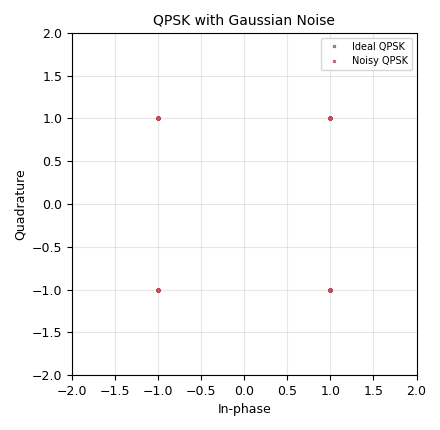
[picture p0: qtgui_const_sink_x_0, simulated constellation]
options:
  parameters:
    author: Dhrubjun
    generate_options: qt_gui
    id: exp5
    output_language: python
    title: QPSK Decision Regions and Noise
  states: {}

blocks:
- name: noise_amp
  id: variable_qtgui_range
  parameters:
    label: Noise Amplitude
    start: '0'
    step: '0.05'
    stop: '2'
    value: '0'
  states: {}
- name: samp_rate
  id: variable
  parameters:
    value: '32000'
  states: {}
- name: samples_per_symbol
  id: variable
  parameters:
    value: int(samp_rate/symbol_rate)
  states: {}
- name: symbol_rate
  id: variable
  parameters:
    value: '1000'
  states: {}
- name: analog_noise_source_x_0
  id: analog_noise_source_x
  parameters:
    amp: noise_amp
    noise_type: analog.GR_GAUSSIAN
    seed: '0'
    type: complex
  states: {}
- name: blocks_add_xx_0
  id: blocks_add_xx
  parameters:
    type: complex
  states: {}
- name: blocks_float_to_complex_0
  id: blocks_float_to_complex
  parameters: {}
  states: {}
- name: blocks_repeat_0_0
  id: blocks_repeat
  parameters:
    interp: samples_per_symbol
    type: float
  states: {}
- name: blocks_repeat_0_0_0
  id: blocks_repeat
  parameters:
    interp: samples_per_symbol
    type: float
  states: {}
- name: blocks_throttle2_0
  id: blocks_throttle2
  parameters:
    samples_per_second: samp_rate
    type: byte
  states: {}
- name: blocks_throttle2_0_0
  id: blocks_throttle2
  parameters:
    samples_per_second: samp_rate
    type: byte
  states: {}
- name: blocks_vector_source_x_0
  id: blocks_vector_source_x
  parameters:
    alias: I Bit Source
    repeat: 'True'
    type: byte
    vector: (0, 0, 1, 1)
  states: {}
- name: blocks_vector_source_x_0_0
  id: blocks_vector_source_x
  parameters:
    alias: Q Bit Source
    repeat: 'True'
    type: byte
    vector: (0, 1, 0, 1)
  states: {}
- name: digital_chunks_to_symbols_xx_0
  id: digital_chunks_to_symbols_xx
  parameters:
    dimension: '1'
    in_type: byte
    out_type: float
    symbol_table: '[-1, 1]'
  states: {}
- name: digital_chunks_to_symbols_xx_0_0
  id: digital_chunks_to_symbols_xx
  parameters:
    dimension: '1'
    in_type: byte
    out_type: float
    symbol_table: '[-1, 1]'
  states: {}
- name: qtgui_const_sink_x_0
  id: qtgui_const_sink_x
  parameters:
    grid: 'True'
    label1: Ideal QPSK
    label2: Noisy QPSK
    marker2: '2'
    name: QPSK with Gaussian Noise
    nconnections: '2'
    size: '512'
    type: complex
    width1: '5'
  states: {}

connections:
- [analog_noise_source_x_0, '0', blocks_add_xx_0, '1']
- [blocks_add_xx_0, '0', qtgui_const_sink_x_0, '1']
- [blocks_float_to_complex_0, '0', blocks_add_xx_0, '0']
- [blocks_float_to_complex_0, '0', qtgui_const_sink_x_0, '0']
- [blocks_repeat_0_0, '0', blocks_float_to_complex_0, '0']
- [blocks_repeat_0_0_0, '0', blocks_float_to_complex_0, '1']
- [blocks_throttle2_0, '0', digital_chunks_to_symbols_xx_0, '0']
- [blocks_throttle2_0_0, '0', digital_chunks_to_symbols_xx_0_0, '0']
- [blocks_vector_source_x_0, '0', blocks_throttle2_0, '0']
- [blocks_vector_source_x_0_0, '0', blocks_throttle2_0_0, '0']
- [digital_chunks_to_symbols_xx_0, '0', blocks_repeat_0_0, '0']
- [digital_chunks_to_symbols_xx_0_0, '0', blocks_repeat_0_0_0, '0']

metadata:
  file_format: 1
  grc_version: 3.10.12.0
